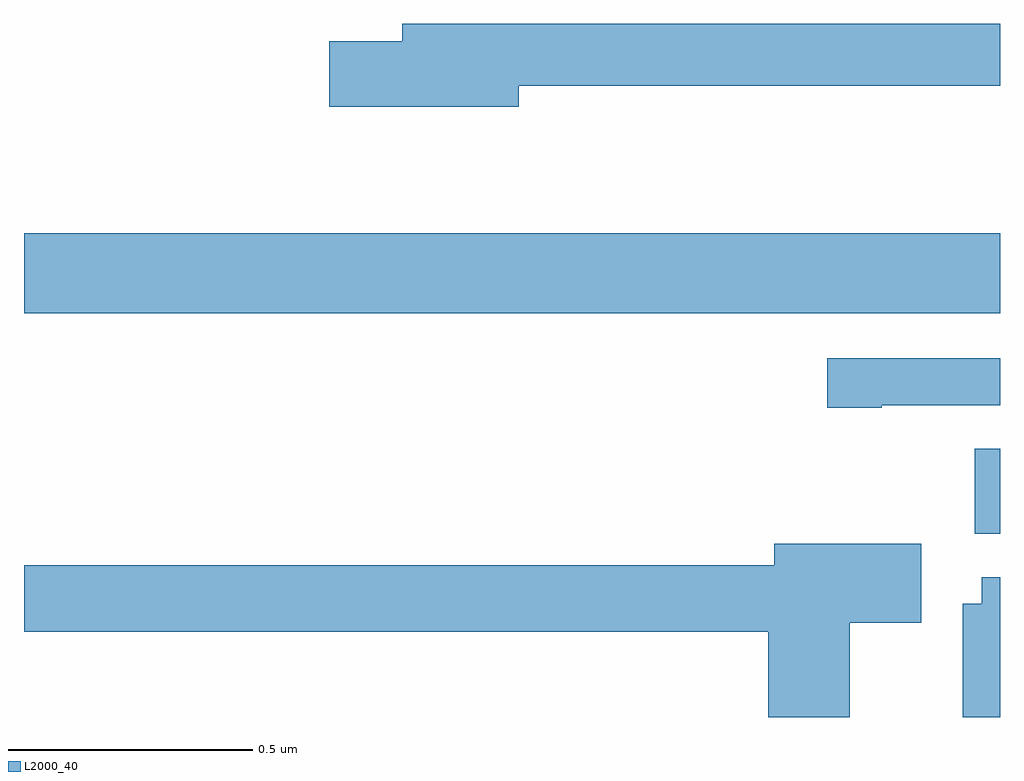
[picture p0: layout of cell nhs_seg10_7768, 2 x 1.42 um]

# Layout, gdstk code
import gdstk
lib = gdstk.Library(unit=1e-6, precision=1e-09)
def R(c, l, rs):  # rectangles x0, y0, x1, y1
    for r in rs: c.add(gdstk.rectangle(r[:2], r[2:], *l))
def P(c, l, *ps):  # polygons
    for p in ps: c.add(gdstk.Polygon(p, *l))
L2000_40 = (2000, 40)

nhs_seg10_7768 = lib.new_cell('nhs_seg10_7768')
R(nhs_seg10_7768, L2000_40, [(209.948,1287.876,210,1288.051), (208,1288.328,210,1288.492)])
P(nhs_seg10_7768, L2000_40, [(209.014,1288.794),(210,1288.794),(210,1288.922),(208.775,1288.922),(208.775,1288.886),(208.626,1288.886),(208.626,1288.751),(209.014,1288.751)],
  [(209.758,1288.14),(210,1288.14),(210,1288.236),(209.646,1288.236),(209.646,1288.135),(209.758,1288.135)],
  [(209.692,1287.694),(209.839,1287.694),(209.839,1287.856),(209.537,1287.856),(209.537,1287.812),(208,1287.812),(208,1287.676),(209.525,1287.676),(209.525,1287.5),(209.692,1287.5)],
  [(210,1287.787),(209.963,1287.787),(209.963,1287.733),(209.924,1287.733),(209.924,1287.5),(210,1287.5)])

lib.write_gds('nhs_seg10_7768.gds')
